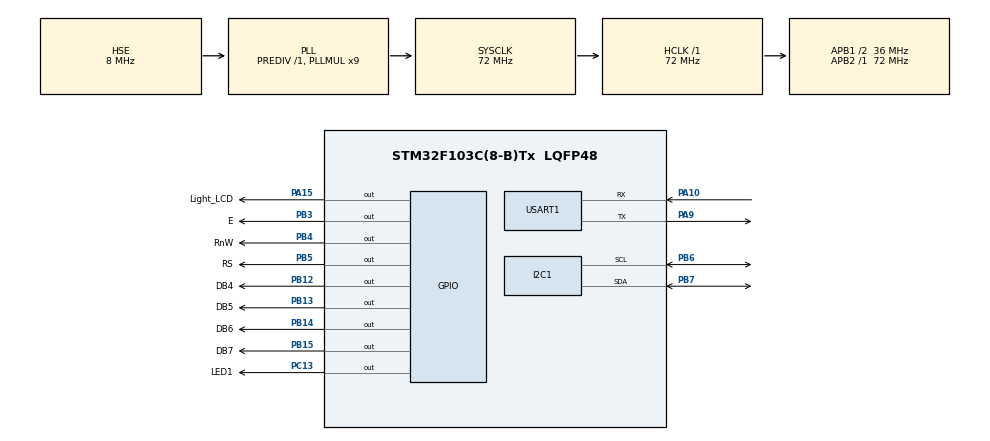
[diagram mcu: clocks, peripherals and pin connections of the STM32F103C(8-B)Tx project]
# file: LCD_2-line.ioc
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Mcu.Family=STM32F1
Mcu.Name=STM32F103C(8-B)Tx
Mcu.Package=LQFP48
NVIC.PriorityGroup=NVIC_PRIORITYGROUP_4
NVIC.USART1_IRQn=true\:0\:0\:false\:false\:true\:true\:true\:true
PA10.Mode=Asynchronous
PA10.Signal=USART1_RX
PA13.Mode=Serial_Wire
PA13.Signal=SYS_JTMS-SWDIO
PA14.Mode=Serial_Wire
PA14.Signal=SYS_JTCK-SWCLK
PA15.GPIO_Label=Light_LCD
PA15.Signal=GPIO_Output
PA9.Mode=Asynchronous
PA9.Signal=USART1_TX
PB12.GPIO_Label=DB4
PB12.Signal=GPIO_Output
PB13.GPIO_Label=DB5
PB13.Signal=GPIO_Output
PB14.GPIO_Label=DB6
PB14.Signal=GPIO_Output
PB15.GPIO_Label=DB7
PB15.Signal=GPIO_Output
PB3.GPIO_Label=E
PB3.Signal=GPIO_Output
PB4.GPIO_Label=RnW
PB4.Signal=GPIO_Output
PB5.GPIO_Label=RS
PB5.Signal=GPIO_Output
PB6.Mode=I2C
PB6.Signal=I2C1_SCL
PB7.Mode=I2C
PB7.Signal=I2C1_SDA
PC13-TAMPER-RTC.GPIO_Label=LED1
PC13-TAMPER-RTC.PinState=GPIO_PIN_SET
PC13-TAMPER-RTC.Signal=GPIO_Output
PD0-OSC_IN.Mode=HSE-External-Oscillator
PD0-OSC_IN.Signal=RCC_OSC_IN
PD1-OSC_OUT.Mode=HSE-External-Oscillator
PD1-OSC_OUT.Signal=RCC_OSC_OUT
ProjectManager.HeapSize=0x200
ProjectManager.StackSize=0x400
ProjectManager.TargetToolchain=STM32CubeIDE
RCC.AHBFreq_Value=72000000
RCC.APB1CLKDivider=RCC_HCLK_DIV2
RCC.APB1Freq_Value=36000000
RCC.APB1TimFreq_Value=72000000
RCC.APB2Freq_Value=72000000
RCC.APB2TimFreq_Value=72000000
RCC.HCLKFreq_Value=72000000
RCC.PLLMUL=RCC_PLL_MUL9
RCC.PLLSourceVirtual=RCC_PLLSOURCE_HSE
RCC.SYSCLKFreq_VALUE=72000000
RCC.SYSCLKSource=RCC_SYSCLKSOURCE_PLLCLK
RCC.USBFreq_Value=72000000
TIM4.Prescaler=18-1
USART1.VirtualMode=VM_ASYNC
VP_TIM4_VS_ClockSourceINT.Mode=Internal
board=custom

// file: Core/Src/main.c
/* USER CODE BEGIN Header */
/* USER CODE END Header */
#include "main.h"

/* USER CODE BEGIN Includes */
#include "LCD.h"
/* USER CODE END Includes */

I2C_HandleTypeDef hi2c1;

TIM_HandleTypeDef htim4;

UART_HandleTypeDef huart1;

uint8_t rxData;

void SystemClock_Config(void);
static void MX_GPIO_Init(void);
static void MX_I2C1_Init(void);
static void MX_TIM4_Init(void);
static void MX_USART1_UART_Init(void);
/* USER CODE BEGIN PFP */
void delay_us(uint16_t delay);
/* USER CODE END PFP */

int main(void)
{

  /* MCU Configuration--------------------------------------------------------*/

  /* Reset of all peripherals, Initializes the Flash interface and the Systick. */
  HAL_Init();

  /* Configure the system clock */
  SystemClock_Config();

  /* Initialize all configured peripherals */
  MX_GPIO_Init();
  MX_I2C1_Init();
  MX_TIM4_Init();
  MX_USART1_UART_Init();

  /* USER CODE BEGIN 2 */
  HAL_UART_Receive_IT(&huart1, &rxData, 1); /* start UART in interrupt mode */
  HAL_UART_Transmit(&huart1, (uint8_t *) "\x1b[2J\x1b[;HUART started\r\n", sizeof("\x1b[2J\x1b[;HUART started\r\n"), 500);

  HAL_TIM_Base_Start(&htim4);

  LL_GPIO_SetOutputPin(Light_LCD_GPIO_Port, Light_LCD_Pin);

  LCD_Start();
  HAL_Delay(20);
  LCD_Position(0, 0);
  LCD_PrintString("HD44780 LCD");
  LCD_Position(1, 0);
  LCD_PrintString("LL GPIO driver");

  HAL_Delay(5000);

  uint32_t count = 0;

  /* USER CODE END 2 */

  /* Infinite loop */
  /* USER CODE BEGIN WHILE */
  while (1)
  {
	  LL_GPIO_TogglePin(LED1_GPIO_Port, LED1_Pin);
	  if(0 == count)
	  {
		  LCD_Position(1, 0);
		  LCD_PrintString("Cnt            ");
	  }
	  LCD_Position(1, 4);
	  LCD_PrintU32Number(count++);
	  HAL_Delay(500);

    /* USER CODE END WHILE */

  }
}

void SystemClock_Config(void)
{
  RCC_OscInitTypeDef RCC_OscInitStruct = {0};
  RCC_ClkInitTypeDef RCC_ClkInitStruct = {0};

  /** Initializes the RCC Oscillators according to the specified parameters
  * in the RCC_OscInitTypeDef structure.
  */
  RCC_OscInitStruct.OscillatorType = RCC_OSCILLATORTYPE_HSE;
  RCC_OscInitStruct.HSEState = RCC_HSE_ON;
  RCC_OscInitStruct.HSEPredivValue = RCC_HSE_PREDIV_DIV1;
  RCC_OscInitStruct.HSIState = RCC_HSI_ON;
  RCC_OscInitStruct.PLL.PLLState = RCC_PLL_ON;
  RCC_OscInitStruct.PLL.PLLSource = RCC_PLLSOURCE_HSE;
  RCC_OscInitStruct.PLL.PLLMUL = RCC_PLL_MUL9;
  if (HAL_RCC_OscConfig(&RCC_OscInitStruct) != HAL_OK)
  {
    Error_Handler();
  }

  /** Initializes the CPU, AHB and APB buses clocks
  */
  RCC_ClkInitStruct.ClockType = RCC_CLOCKTYPE_HCLK|RCC_CLOCKTYPE_SYSCLK
                              |RCC_CLOCKTYPE_PCLK1|RCC_CLOCKTYPE_PCLK2;
  RCC_ClkInitStruct.SYSCLKSource = RCC_SYSCLKSOURCE_PLLCLK;
  RCC_ClkInitStruct.AHBCLKDivider = RCC_SYSCLK_DIV1;
  RCC_ClkInitStruct.APB1CLKDivider = RCC_HCLK_DIV2;
  RCC_ClkInitStruct.APB2CLKDivider = RCC_HCLK_DIV1;

  if (HAL_RCC_ClockConfig(&RCC_ClkInitStruct, FLASH_LATENCY_2) != HAL_OK)
  {
    Error_Handler();
  }
}

static void MX_I2C1_Init(void)
{

  hi2c1.Instance = I2C1;
  hi2c1.Init.ClockSpeed = 100000;
  hi2c1.Init.DutyCycle = I2C_DUTYCYCLE_2;
  hi2c1.Init.OwnAddress1 = 0;
  hi2c1.Init.AddressingMode = I2C_ADDRESSINGMODE_7BIT;
  hi2c1.Init.DualAddressMode = I2C_DUALADDRESS_DISABLE;
  hi2c1.Init.OwnAddress2 = 0;
  hi2c1.Init.GeneralCallMode = I2C_GENERALCALL_DISABLE;
  hi2c1.Init.NoStretchMode = I2C_NOSTRETCH_DISABLE;
  if (HAL_I2C_Init(&hi2c1) != HAL_OK)
  {
    Error_Handler();
  }

}

static void MX_TIM4_Init(void)
{

  TIM_ClockConfigTypeDef sClockSourceConfig = {0};
  TIM_MasterConfigTypeDef sMasterConfig = {0};

  htim4.Instance = TIM4;
  htim4.Init.Prescaler = 18-1;
  htim4.Init.CounterMode = TIM_COUNTERMODE_UP;
  htim4.Init.Period = 65535;
  htim4.Init.ClockDivision = TIM_CLOCKDIVISION_DIV1;
  htim4.Init.AutoReloadPreload = TIM_AUTORELOAD_PRELOAD_DISABLE;
  if (HAL_TIM_Base_Init(&htim4) != HAL_OK)
  {
    Error_Handler();
  }
  sClockSourceConfig.ClockSource = TIM_CLOCKSOURCE_INTERNAL;
  if (HAL_TIM_ConfigClockSource(&htim4, &sClockSourceConfig) != HAL_OK)
  {
    Error_Handler();
  }
  sMasterConfig.MasterOutputTrigger = TIM_TRGO_RESET;
  sMasterConfig.MasterSlaveMode = TIM_MASTERSLAVEMODE_DISABLE;
  if (HAL_TIMEx_MasterConfigSynchronization(&htim4, &sMasterConfig) != HAL_OK)
  {
    Error_Handler();
  }

}

static void MX_USART1_UART_Init(void)
{

  huart1.Instance = USART1;
  huart1.Init.BaudRate = 115200;
  huart1.Init.WordLength = UART_WORDLENGTH_8B;
  huart1.Init.StopBits = UART_STOPBITS_1;
  huart1.Init.Parity = UART_PARITY_NONE;
  huart1.Init.Mode = UART_MODE_TX_RX;
  huart1.Init.HwFlowCtl = UART_HWCONTROL_NONE;
  huart1.Init.OverSampling = UART_OVERSAMPLING_16;
  if (HAL_UART_Init(&huart1) != HAL_OK)
  {
    Error_Handler();
  }

}

static void MX_GPIO_Init(void)
{
  LL_GPIO_InitTypeDef GPIO_InitStruct = {0};

  /* GPIO Ports Clock Enable */
  LL_APB2_GRP1_EnableClock(LL_APB2_GRP1_PERIPH_GPIOC);
  LL_APB2_GRP1_EnableClock(LL_APB2_GRP1_PERIPH_GPIOD);
  LL_APB2_GRP1_EnableClock(LL_APB2_GRP1_PERIPH_GPIOB);
  LL_APB2_GRP1_EnableClock(LL_APB2_GRP1_PERIPH_GPIOA);

  /**/
  LL_GPIO_SetOutputPin(LED1_GPIO_Port, LED1_Pin);

  /**/
  LL_GPIO_ResetOutputPin(GPIOB, DB4_Pin|DB5_Pin|DB6_Pin|DB7_Pin
                          |E_Pin|RnW_Pin|RS_Pin);

  /**/
  LL_GPIO_ResetOutputPin(Light_LCD_GPIO_Port, Light_LCD_Pin);

  /**/
  GPIO_InitStruct.Pin = LED1_Pin;
  GPIO_InitStruct.Mode = LL_GPIO_MODE_OUTPUT;
  GPIO_InitStruct.Speed = LL_GPIO_SPEED_FREQ_LOW;
  GPIO_InitStruct.OutputType = LL_GPIO_OUTPUT_PUSHPULL;
  LL_GPIO_Init(LED1_GPIO_Port, &GPIO_InitStruct);

  /**/
  GPIO_InitStruct.Pin = DB4_Pin|DB5_Pin|DB6_Pin|DB7_Pin
                          |E_Pin|RnW_Pin|RS_Pin;
  GPIO_InitStruct.Mode = LL_GPIO_MODE_OUTPUT;
  GPIO_InitStruct.Speed = LL_GPIO_SPEED_FREQ_LOW;
  GPIO_InitStruct.OutputType = LL_GPIO_OUTPUT_PUSHPULL;
  LL_GPIO_Init(GPIOB, &GPIO_InitStruct);

  /**/
  GPIO_InitStruct.Pin = Light_LCD_Pin;
  GPIO_InitStruct.Mode = LL_GPIO_MODE_OUTPUT;
  GPIO_InitStruct.Speed = LL_GPIO_SPEED_FREQ_LOW;
  GPIO_InitStruct.OutputType = LL_GPIO_OUTPUT_PUSHPULL;
  LL_GPIO_Init(Light_LCD_GPIO_Port, &GPIO_InitStruct);

}

/* USER CODE BEGIN 4 */
void delay_us(uint16_t delay)
{
	if(delay < 1)
		delay = 0; /* yields minimum delay */
	else if(delay > 0x10000 / 4) /* TIM4 is a 16-bit counter, argument will be multiplied by 4 later */
		delay = 0x10000 - 1; /* maximum delay = 18/72 MHz * 16,384 = 4096 us */
	else
		delay = (delay * 4) - 1; /* TIM4 configured for 4 MHz */
	__HAL_TIM_SetCounter(&htim4, 0); /* reset counter to zero */
	while(__HAL_TIM_GetCounter(&htim4) < delay); /* wait for delay */
}

void HAL_UART_RxCpltCallback(UART_HandleTypeDef *huart)
{
	HAL_UART_Transmit(&huart1, &rxData, 1, 100); /* echo character */
    HAL_UART_Receive_IT(&huart1, &rxData, 1); /* restart UART Rx interrupt */
}

/* USER CODE END 4 */

void Error_Handler(void)
{
}
